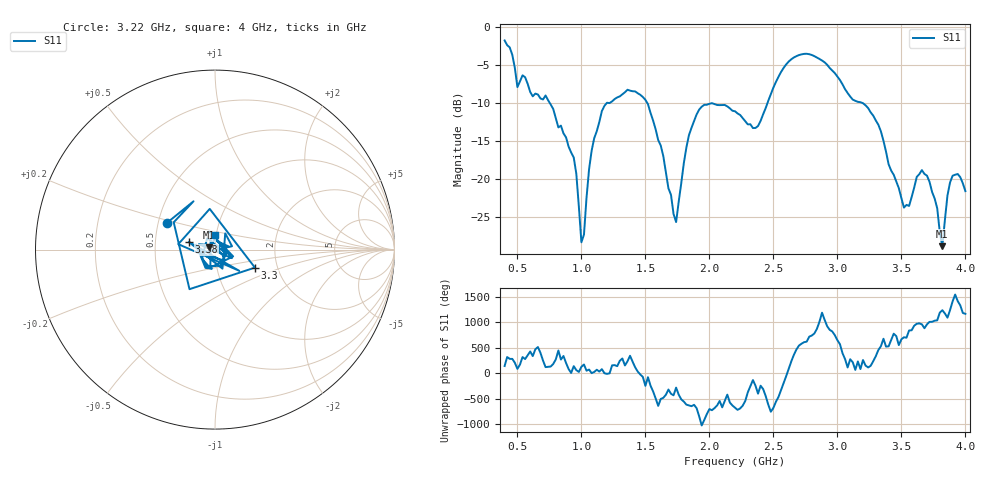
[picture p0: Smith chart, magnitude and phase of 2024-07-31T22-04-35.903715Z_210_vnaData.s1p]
!Created with skrf (http://scikit-rf.org).
# Hz S RI R 50.0
!freq ReS11 ImS11
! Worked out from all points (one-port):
!   181 points, 400 MHz to 4 GHz, reference 50 ohm
!   lowest |S11| = -28.8 dB at 3.82 GHz (marker M1), VSWR 1.08, Z = 46.7 + j1.17 ohm
!   |S11| at or under -10 dB: 754.7 MHz to 1.196 GHz (441.5 MHz wide, 45.3 % of centre); 1.516 GHz to 2.015 GHz (498.3 MHz wide, 28.2 % of centre); 3.201 GHz to end of sweep (the widest 3 of 4)
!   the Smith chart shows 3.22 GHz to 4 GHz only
!   S11 on the Smith chart (normalised r, x): 3.22 GHz: 0.56, +0.18; 3.3 GHz: 1.53, -0.33; 3.38 GHz: 0.74, +0.07; 4 GHz: 0.99, +0.17
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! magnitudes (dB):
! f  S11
! 400 MHz  -1.7
! 500 MHz  -7.9
! 720 MHz  -9.0
! 860 MHz  -14.0
! 940 MHz  -17.1
! 1 GHz  -28.3
! 1.1 GHz  -14.6
! 1.18 GHz  -10.3
! 1.3 GHz  -9.1
! 1.52 GHz  -10.1
! 1.72 GHz  -24.6
! 1.76 GHz  -23.0
! 1.84 GHz  -14.2
! 1.92 GHz  -10.8
! 2.2 GHz  -11.0
! 2.38 GHz  -13.0
! 2.66 GHz  -4.0
! 2.88 GHz  -4.4
! 3.1 GHz  -9.1
! 3.22 GHz  -10.3
! 3.3 GHz  -12.3
! 3.38 GHz  -16.4
! 3.56 GHz  -23.5
! 3.62 GHz  -19.7
! 3.7 GHz  -19.5
! 3.82 GHz  -28.8
! 3.9 GHz  -19.5
! 4 GHz  -21.6
